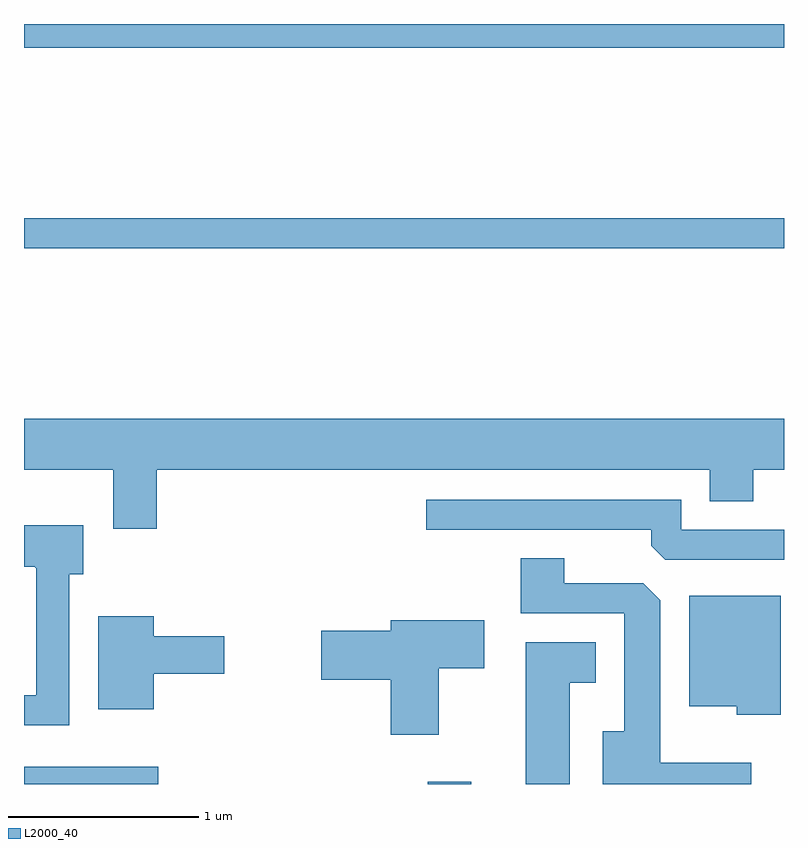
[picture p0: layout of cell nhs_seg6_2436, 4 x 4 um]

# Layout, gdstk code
import gdstk
lib = gdstk.Library(unit=1e-6, precision=1e-09)
def R(c, l, rs):  # rectangles x0, y0, x1, y1
    for r in rs: c.add(gdstk.rectangle(r[:2], r[2:], *l))
def P(c, l, *ps):  # polygons
    for p in ps: c.add(gdstk.Polygon(p, *l))
L2000_40 = (2000, 40)

nhs_seg6_2436 = lib.new_cell('nhs_seg6_2436')
R(nhs_seg6_2436, L2000_40, [(259.611,1546.162,260.318,1546.254), (261.736,1546.162,261.964,1546.174), (259.611,1548.981,263.611,1549.139), (259.611,1550.036,263.611,1550.162)])
P(nhs_seg6_2436, L2000_40, [(260.309,1547.816),(263.221,1547.816),(263.221,1547.651),(263.449,1547.651),(263.449,1547.816),(263.611,1547.816),(263.611,1548.084),(259.611,1548.084),(259.611,1547.816),(260.081,1547.816),(260.081,1547.506),(260.309,1547.506)],
  [(263.611,1547.499),(263.069,1547.499),(263.069,1547.659),(261.728,1547.659),(261.728,1547.501),(262.911,1547.501),(262.911,1547.417),(262.987,1547.341),(263.611,1547.341)],
  [(259.849,1547.266),(259.924,1547.266),(259.924,1547.524),(259.611,1547.524),(259.611,1547.306),(259.67,1547.306),(259.67,1547.3),(259.676,1547.3),(259.676,1546.629),(259.613,1546.629),(259.613,1546.471),(259.849,1546.471)],
  [(263.439,1546.274),(262.959,1546.274),(262.959,1547.129),(262.869,1547.219),(262.454,1547.219),(262.454,1547.349),(262.226,1547.349),(262.226,1547.061),(262.771,1547.061),(262.771,1546.439),(262.656,1546.439),(262.656,1546.162),(263.439,1546.162)],
  [(263.594,1547.154),(263.111,1547.154),(263.111,1546.571),(263.361,1546.571),(263.361,1546.526),(263.594,1546.526)],
  [(260.294,1546.741),(260.664,1546.741),(260.664,1546.939),(260.294,1546.939),(260.294,1547.044),(260.001,1547.044),(260.001,1546.556),(260.294,1546.556)],
  [(261.794,1546.771),(262.034,1546.771),(262.034,1547.024),(261.541,1547.024),(261.541,1546.969),(261.176,1546.969),(261.176,1546.711),(261.541,1546.711),(261.541,1546.421),(261.794,1546.421)],
  [(262.484,1546.696),(262.619,1546.696),(262.619,1546.909),(262.251,1546.909),(262.251,1546.162),(262.484,1546.162)])

lib.write_gds('nhs_seg6_2436.gds')
